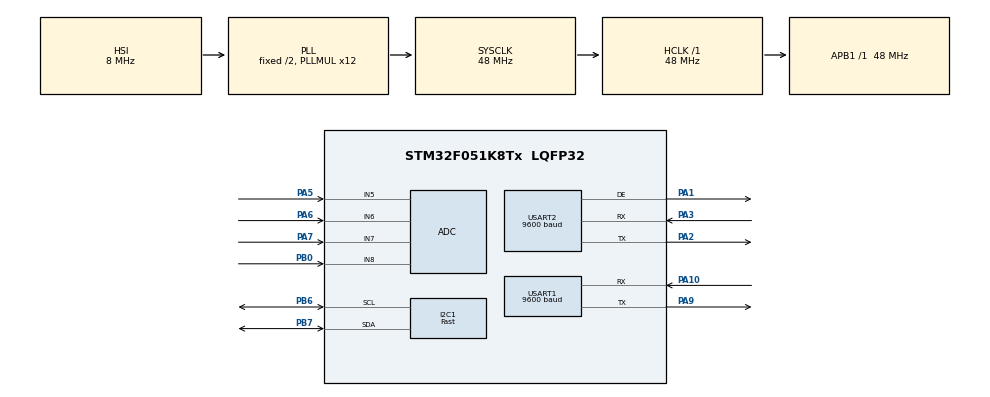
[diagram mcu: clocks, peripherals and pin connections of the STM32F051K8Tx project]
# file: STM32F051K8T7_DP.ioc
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ADC.ContinuousConvMode=ENABLE
ADC.DMAContinuousRequests=ENABLE
ADC.SamplingTime=ADC_SAMPLETIME_13CYCLES_5
Dma.ADC.0.Direction=DMA_PERIPH_TO_MEMORY
Dma.ADC.0.Instance=DMA1_Channel1
Dma.ADC.0.MemDataAlignment=DMA_MDATAALIGN_HALFWORD
Dma.ADC.0.MemInc=DMA_MINC_ENABLE
Dma.ADC.0.Mode=DMA_CIRCULAR
Dma.ADC.0.PeriphDataAlignment=DMA_PDATAALIGN_HALFWORD
Dma.ADC.0.PeriphInc=DMA_PINC_DISABLE
Dma.ADC.0.Priority=DMA_PRIORITY_LOW
Dma.Request0=ADC
Dma.Request1=USART2_TX
Dma.Request2=USART1_TX
Dma.USART1_TX.2.Direction=DMA_MEMORY_TO_PERIPH
Dma.USART1_TX.2.Instance=DMA1_Channel2
Dma.USART1_TX.2.MemDataAlignment=DMA_MDATAALIGN_BYTE
Dma.USART1_TX.2.MemInc=DMA_MINC_ENABLE
Dma.USART1_TX.2.Mode=DMA_NORMAL
Dma.USART1_TX.2.PeriphDataAlignment=DMA_PDATAALIGN_BYTE
Dma.USART1_TX.2.PeriphInc=DMA_PINC_DISABLE
Dma.USART1_TX.2.Priority=DMA_PRIORITY_LOW
Dma.USART2_TX.1.Direction=DMA_MEMORY_TO_PERIPH
Dma.USART2_TX.1.Instance=DMA1_Channel4
Dma.USART2_TX.1.MemDataAlignment=DMA_MDATAALIGN_BYTE
Dma.USART2_TX.1.MemInc=DMA_MINC_ENABLE
Dma.USART2_TX.1.Mode=DMA_NORMAL
Dma.USART2_TX.1.PeriphDataAlignment=DMA_PDATAALIGN_BYTE
Dma.USART2_TX.1.PeriphInc=DMA_PINC_DISABLE
Dma.USART2_TX.1.Priority=DMA_PRIORITY_LOW
I2C1.I2C_Speed_Mode=I2C_Fast
I2C1.Timing=0x0010020A
Mcu.Family=STM32F0
Mcu.Name=STM32F051K8Tx
Mcu.Package=LQFP32
NVIC.DMA1_Channel1_IRQn=true\:0\:0\:false\:false\:true\:false\:true\:true
NVIC.DMA1_Channel2_3_IRQn=true\:0\:0\:false\:false\:true\:false\:true\:true
NVIC.DMA1_Channel4_5_IRQn=true\:0\:0\:false\:false\:true\:false\:true\:true
NVIC.TIM3_IRQn=true\:0\:0\:false\:false\:true\:true\:true\:true
NVIC.USART1_IRQn=true\:0\:0\:false\:false\:true\:false\:true\:true
NVIC.USART2_IRQn=true\:0\:0\:false\:false\:true\:true\:true\:true
PA1.Mode=Hardware Flow Control (RS485)
PA1.Signal=USART2_DE
PA10.GPIO_PuPd=GPIO_PULLUP
PA10.Mode=Asynchronous
PA10.Signal=USART1_RX
PA13.Mode=Serial_Wire
PA13.Signal=SYS_SWDIO
PA14.Mode=Serial_Wire
PA14.Signal=SYS_SWCLK
PA2.Mode=Asynchronous
PA2.Signal=USART2_TX
PA3.GPIO_PuPd=GPIO_PULLUP
PA3.Mode=Asynchronous
PA3.Signal=USART2_RX
PA5.Mode=IN5
PA5.Signal=ADC_IN5
PA6.Mode=IN6
PA6.Signal=ADC_IN6
PA7.Mode=IN7
PA7.Signal=ADC_IN7
PA9.Mode=Asynchronous
PA9.Signal=USART1_TX
PB0.Mode=IN8
PB0.Signal=ADC_IN8
PB6.GPIO_Pu=GPIO_PULLUP
PB6.Mode=I2C
PB6.Signal=I2C1_SCL
PB7.GPIO_Pu=GPIO_PULLUP
PB7.Mode=I2C
PB7.Signal=I2C1_SDA
PF0-OSC_IN.Mode=HSE-External-Oscillator
PF0-OSC_IN.Signal=RCC_OSC_IN
PF1-OSC_OUT.Mode=HSE-External-Oscillator
PF1-OSC_OUT.Signal=RCC_OSC_OUT
ProjectManager.HeapSize=0x200
ProjectManager.StackSize=0x400
ProjectManager.TargetToolchain=CMake
RCC.AHBFreq_Value=48000000
RCC.APB1Freq_Value=48000000
RCC.APB1TimFreq_Value=48000000
RCC.HCLKFreq_Value=48000000
RCC.PLLMUL=RCC_PLL_MUL12
RCC.SYSCLKFreq_VALUE=48000000
RCC.SYSCLKSource=RCC_SYSCLKSOURCE_PLLCLK
TIM3.Period=1000-1
TIM3.Prescaler=48-1
USART1.BaudRate=9600
USART1.VirtualMode-Asynchronous=VM_ASYNC
USART2.BaudRate=9600
USART2.VirtualMode-Asynchronous=VM_ASYNC
USART2.VirtualMode-Hardware\ Flow\ Control\ (RS485)=VM_ASYNC
VP_TIM3_VS_ClockSourceINT.Mode=Internal
board=custom

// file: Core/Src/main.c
/* USER CODE BEGIN Header */
/**
 ******************************************************************************
 * @file           : main.c
 * @brief          : Main program body
 ******************************************************************************
 * @attention
 *
 * Copyright (c) 2025 STMicroelectronics.
 * All rights reserved.
 *
 * This software is licensed under terms that can be found in the LICENSE file
 * in the root directory of this software component.
 * If no LICENSE file comes with this software, it is provided AS-IS.
 *
 ******************************************************************************
 */
/* USER CODE END Header */
#include "main.h"
#include "adc.h"
#include "dma.h"
#include "i2c.h"
#include "tim.h"
#include "usart.h"
#include "gpio.h"

/* USER CODE BEGIN Includes */
#include <math.h>
#include <stdio.h>
#include <string.h>
#include <stdlib.h>
/* USER CODE END Includes */

/* USER CODE BEGIN PD */
#define ADC_NUM 4
/* USER CODE END PD */

void SystemClock_Config(void);
/* USER CODE BEGIN PFP */
void Read_Sensor_ID(void);
void ADC_CT_PRO(uint8_t i);
void ADC_TM_PRO(void);
void ADC_DP_PRO(void);
/* USER CODE END PFP */

/* USER CODE BEGIN 0 */
char rxData, rxBuff[30], usrData, usrBuff[30], txBuff[30], Buff[255];
uint8_t adcFlag, ctFlag, tmpDpFlag, txFlag, I2CBuff[16], ReadI2C[16], senID[4];
uint16_t adcCnt = 300, adcRaw[40], adcData[4], adcAvg[4], adcSqrt[2], adcSqrAvg[2];
uint16_t ctCnt[2];
uint32_t adcRawSum[4], adcSum[4], adcSqr[2], adcSqrSum[2];
int32_t adcValue[4];

/* USER CODE END 0 */

int main(void)
{

  /* MCU Configuration--------------------------------------------------------*/

  /* Reset of all peripherals, Initializes the Flash interface and the Systick. */
  HAL_Init();

  /* Configure the system clock */
  SystemClock_Config();

  /* Initialize all configured peripherals */
  MX_GPIO_Init();
  MX_DMA_Init();
  MX_ADC_Init();
  MX_TIM3_Init();
  MX_USART2_UART_Init();
  MX_USART1_UART_Init();
  MX_I2C1_Init();
  /* USER CODE BEGIN 2 */
    Read_Sensor_ID();
    HAL_ADCEx_Calibration_Start(&hadc);
    HAL_ADC_Start_DMA(&hadc, (uint32_t *)&adcRaw, 40);
    HAL_UART_Receive_IT(&huart2, (uint8_t *)&rxData, 1);
    HAL_UART_Receive_IT(&huart1, (uint8_t *)&usrData, 1);
    HAL_TIM_Base_Start_IT(&htim3);
  /* USER CODE END 2 */

  /* Infinite loop */
    while (1)
    {

    /* USER CODE BEGIN 3 */
        if (adcFlag)
        {
            adcRawSum[0] = adcRaw[0] + adcRaw[4] + adcRaw[8] + adcRaw[12] + adcRaw[16] + adcRaw[20] + adcRaw[24] + adcRaw[28] + adcRaw[32] + adcRaw[36];
            adcRawSum[1] = adcRaw[1] + adcRaw[5] + adcRaw[9] + adcRaw[13] + adcRaw[17] + adcRaw[21] + adcRaw[25] + adcRaw[29] + adcRaw[33] + adcRaw[37];
            adcRawSum[2] = adcRaw[2] + adcRaw[6] + adcRaw[10] + adcRaw[14] + adcRaw[18] + adcRaw[22] + adcRaw[26] + adcRaw[30] + adcRaw[34] + adcRaw[38];
            adcRawSum[3] = adcRaw[3] + adcRaw[7] + adcRaw[11] + adcRaw[15] + adcRaw[19] + adcRaw[23] + adcRaw[27] + adcRaw[31] + adcRaw[35] + adcRaw[39];

            adcData[0] = adcRawSum[0] / 10;
            adcData[1] = adcRawSum[1] / 10;
            adcData[2] = adcRawSum[2] / 10;
            adcData[3] = adcRawSum[3] / 10;

            adcRawSum[0] = 0;
            adcRawSum[1] = 0;
            adcRawSum[2] = 0;
            adcRawSum[3] = 0;

            adcSum[0] += adcData[0];
            adcSum[1] += adcData[1];
            adcSum[2] += adcData[2];
            adcSum[3] += adcData[3];

            if (adcCnt > 0)
                adcCnt--;

            if (adcCnt == 0)
            {
                adcAvg[0] = adcSum[0] / 300;
                adcAvg[1] = adcSum[1] / 300;
                adcAvg[2] = adcSum[2] / 300;
                adcAvg[3] = adcSum[3] / 300;

                adcSum[0] = 0;
                adcSum[1] = 0;
                adcSum[2] = 0;
                adcSum[3] = 0;

                tmpDpFlag = 1;

                adcCnt = 300;
            }

            adcFlag = 0;
            ctFlag = 1;
        }

        if (ctFlag)
        {
            ADC_CT_PRO(0); // ct1
            ADC_CT_PRO(1); // ct2
            ctFlag = 0;
        }

        if (tmpDpFlag)
        {
            ADC_TM_PRO(); // tmp
            ADC_DP_PRO(); // dP

            tmpDpFlag = 0;
        }

        if (txFlag)
        { // ADC별 ID와 데이터 전송
            snprintf(Buff, sizeof(Buff),
                     "ADC1(ID:%2d): %3ld, ADC2(ID:%2d): %3ld, ADC3(ID:%2d): %3ld, ADC4(ID:%2d): %3ld\r\n",
                     senID[0], adcValue[0], senID[1], adcValue[1], senID[2], adcValue[2], senID[3], adcValue[3]);
            HAL_UART_Transmit_DMA(&huart1, (uint8_t *)&Buff, strlen(Buff));

            txFlag = 0;
        }
    }
  /* USER CODE END 3 */
}

void SystemClock_Config(void)
{
  RCC_OscInitTypeDef RCC_OscInitStruct = {0};
  RCC_ClkInitTypeDef RCC_ClkInitStruct = {0};
  RCC_PeriphCLKInitTypeDef PeriphClkInit = {0};

  /** Initializes the RCC Oscillators according to the specified parameters
  * in the RCC_OscInitTypeDef structure.
  */
  RCC_OscInitStruct.OscillatorType = RCC_OSCILLATORTYPE_HSI|RCC_OSCILLATORTYPE_HSI14;
  RCC_OscInitStruct.HSIState = RCC_HSI_ON;
  RCC_OscInitStruct.HSI14State = RCC_HSI14_ON;
  RCC_OscInitStruct.HSICalibrationValue = RCC_HSICALIBRATION_DEFAULT;
  RCC_OscInitStruct.HSI14CalibrationValue = 16;
  RCC_OscInitStruct.PLL.PLLState = RCC_PLL_ON;
  RCC_OscInitStruct.PLL.PLLSource = RCC_PLLSOURCE_HSI;
  RCC_OscInitStruct.PLL.PLLMUL = RCC_PLL_MUL12;
  RCC_OscInitStruct.PLL.PREDIV = RCC_PREDIV_DIV1;
  if (HAL_RCC_OscConfig(&RCC_OscInitStruct) != HAL_OK)
  {
    Error_Handler();
  }

  /** Initializes the CPU, AHB and APB buses clocks
  */
  RCC_ClkInitStruct.ClockType = RCC_CLOCKTYPE_HCLK|RCC_CLOCKTYPE_SYSCLK
                              |RCC_CLOCKTYPE_PCLK1;
  RCC_ClkInitStruct.SYSCLKSource = RCC_SYSCLKSOURCE_PLLCLK;
  RCC_ClkInitStruct.AHBCLKDivider = RCC_SYSCLK_DIV1;
  RCC_ClkInitStruct.APB1CLKDivider = RCC_HCLK_DIV1;

  if (HAL_RCC_ClockConfig(&RCC_ClkInitStruct, FLASH_LATENCY_1) != HAL_OK)
  {
    Error_Handler();
  }
  PeriphClkInit.PeriphClockSelection = RCC_PERIPHCLK_USART1|RCC_PERIPHCLK_I2C1;
  PeriphClkInit.Usart1ClockSelection = RCC_USART1CLKSOURCE_PCLK1;
  PeriphClkInit.I2c1ClockSelection = RCC_I2C1CLKSOURCE_HSI;
  if (HAL_RCCEx_PeriphCLKConfig(&PeriphClkInit) != HAL_OK)
  {
    Error_Handler();
  }
}

/* USER CODE BEGIN 4 */
void HAL_TIM_PeriodElapsedCallback(TIM_HandleTypeDef *htim)
{
    if (htim->Instance == TIM3)
    {
        static uint16_t cnt;
        // 1msec 간격 ADC
        adcFlag = 1;

        cnt++;

        if (cnt >= 1000)
        {
            txFlag = 1;
            cnt = 0;
        }
    }
}

void HAL_UART_RxCpltCallback(UART_HandleTypeDef *huart)
{
    if (huart->Instance == USART2)
    {
        rxBuff[0] = rxBuff[1];
        rxBuff[1] = rxBuff[2];
        rxBuff[2] = rxBuff[3];
        rxBuff[3] = rxBuff[4];
        rxBuff[4] = rxData;

        // 센서데이터 요청 ex.R01(아이디 01번 센서 데이터 요청)
        if (rxBuff[0] == 'R' && rxBuff[3] == 0x0D && rxBuff[4] == 0x0A)
        {
            uint8_t ID;

            ID = (rxBuff[1] - '0') * 10;
            ID += rxBuff[2] - '0';

            for (uint8_t i = 0; i < ADC_NUM; i++)
            {
                if (senID[i] == ID)
                {
                    uint16_t checksum;

                    if (adcValue[i] < 0)
                    {
                        uint16_t data = abs(adcValue[i]);
                        snprintf(txBuff, sizeof(txBuff), "A%02d-%02d", senID[i], data);
                    }
                    else
                        snprintf(txBuff, sizeof(txBuff), "A%02d%03ld", senID[i], adcValue[i]);

                    checksum = txBuff[0] + txBuff[1] + txBuff[2] + txBuff[3] + txBuff[4] + txBuff[5];

                    txBuff[6] = checksum >> 8;
                    txBuff[7] = checksum & 0xFF;
                    txBuff[8] = 0x0D;
                    txBuff[9] = 0x0A;

                    HAL_UART_Transmit_DMA(&huart2, (uint8_t *)&txBuff, 10);
                    break;
                }
            }
        }
        HAL_UART_Receive_IT(&huart2, (uint8_t *)&rxData, 1);
    }

    if (huart->Instance == USART1)
    {
        char tmpBuff[50];

        usrBuff[0] = usrBuff[1];
        usrBuff[1] = usrBuff[2];
        usrBuff[2] = usrBuff[3];
        usrBuff[3] = usrBuff[4];
        usrBuff[4] = usrBuff[5];
        usrBuff[5] = usrData;

        // ADC별 ID 부여 ex.A101(ADC1 = 01번) or A215(ADC2 = 15번)
        if (usrBuff[0] == 'A' && usrBuff[4] == 0x0D && usrBuff[5] == 0x0A)
        {
            I2CBuff[0] = (usrBuff[2] - '0') * 10;
            I2CBuff[0] += (usrBuff[3] - '0');

            if (usrBuff[1] == '1')
            {
                senID[0] = I2CBuff[0];
                HAL_I2C_Mem_Write(&hi2c1, 0xA0, 0x40, I2C_MEMADD_SIZE_8BIT, &I2CBuff[0], 1, 1);
                snprintf(tmpBuff, sizeof(tmpBuff), "ADC1 ID: %2d\r\n", I2CBuff[0]);
            }
            else if (usrBuff[1] == '2')
            {
                senID[1] = I2CBuff[0];
                HAL_I2C_Mem_Write(&hi2c1, 0xA0, 0x42, I2C_MEMADD_SIZE_8BIT, &I2CBuff[0], 1, 1);
                snprintf(tmpBuff, sizeof(tmpBuff), "ADC2 ID: %2d\r\n", I2CBuff[0]);
            }
            else if (usrBuff[1] == '3')
            {
                senID[2] = I2CBuff[0];
                HAL_I2C_Mem_Write(&hi2c1, 0xA0, 0x44, I2C_MEMADD_SIZE_8BIT, &I2CBuff[0], 1, 1);
                snprintf(tmpBuff, sizeof(tmpBuff), "ADC3 ID: %2d\r\n", I2CBuff[0]);
            }
            else if (usrBuff[1] == '4')
            {
                senID[3] = I2CBuff[0];
                HAL_I2C_Mem_Write(&hi2c1, 0xA0, 0x46, I2C_MEMADD_SIZE_8BIT, &I2CBuff[0], 1, 1);
                snprintf(tmpBuff, sizeof(tmpBuff), "ADC4 ID: %2d\r\n", I2CBuff[0]);
            }
            else
            {
                snprintf(tmpBuff, sizeof(tmpBuff), "Wrong Protocol: %s", usrBuff);
            }

            HAL_UART_Transmit_DMA(&huart1, (uint8_t *)tmpBuff, strlen(tmpBuff));
        }
        HAL_UART_Receive_IT(&huart1, (uint8_t *)&usrData, 1);
    }
}

void Read_Sensor_ID(void)
{
    HAL_I2C_Mem_Read(&hi2c1, 0xA0, 0x40, I2C_MEMADD_SIZE_8BIT, &ReadI2C[0], 16, 1);

    for (uint8_t i = 0; i < ADC_NUM; i++)
    {
        senID[i] = ReadI2C[i * 2];
    }
}

void ADC_CT_PRO(uint8_t i)
{ // 전류 연산

    ctCnt[i]++;

    if (adcData[i] >= adcAvg[i])
        adcSqr[i] = adcData[i] - adcAvg[i];
    else
        adcSqr[i] = adcAvg[i] - adcData[i];

    adcSqr[i] *= adcSqr[i];
    adcSqrSum[i] += adcSqr[i];

    if (ctCnt[i] >= 300)
    {
        adcSqrAvg[i] = adcSqrSum[i] / 300;
        adcSqrSum[i] = 0;

        adcSqrt[i] = sqrt(adcSqrAvg[i]);
        adcValue[i] = adcSqrt[i] * 100;
        adcValue[i] /= 150;

        if (adcValue[i] > 999)
            adcValue[i] = 999;
        else if (adcValue[i] < -99)
            adcValue[i] = -99;

        // 환경공단 테스트 설정 ADC1: 배출시설(E0101) 보조, ADC2: 없음.
        // 0으로 설정
        adcValue[i] = 0;

        ctCnt[i] = 0;
    }
}

void ADC_TM_PRO(void)
{ // 온도 연산
    adcValue[2] = (adcAvg[2] - 600) * 1400;
    adcValue[2] /= 2420;
    adcValue[2] -= 425;
    adcValue[2] /= 10;

    if (adcValue[2] < -99)
        adcValue[2] = -99;
    else if (adcValue[2] > 999)
        adcValue[2] = 99;

    // 환경공단 테스트 설정 ADC3: 방지시설(P0301) 온도
    // 0으로 설정
    adcValue[2] = 0;
}

void ADC_DP_PRO(void)
{ // 차압 연산
    adcValue[3] = (adcAvg[3] - 2048) * 3000;
    adcValue[3] /= 4656;

    if (adcValue[3] > 999)
        adcValue[3] = 999;
    else if (adcValue[3] < -99)
        adcValue[3] = -99;

    // 환경공단 테스트 설정 ADC4: 방지시설(P0301) 차압
    // 0으로 설정
    adcValue[3] = 0;
}
/* USER CODE END 4 */

void Error_Handler(void)
{
    __disable_irq();
    while (1)
    {
    }
}

#ifdef  USE_FULL_ASSERT
/**
  * @brief  Reports the name of the source file and the source line number
  *         where the assert_param error has occurred.
  * @param  file: pointer to the source file name
  * @param  line: assert_param error line source number
  * @retval None
  */
void assert_failed(uint8_t *file, uint32_t line)
{
  /* USER CODE BEGIN 6 */
    /* User can add his own implementation to report the file name and line number,
       ex: printf("Wrong parameters value: file %s on line %d\r\n", file, line) */
    printf("Wrong parameters value: file %s on line %ld\r\n", file, line);
  /* USER CODE END 6 */
}
#endif /* USE_FULL_ASSERT */
